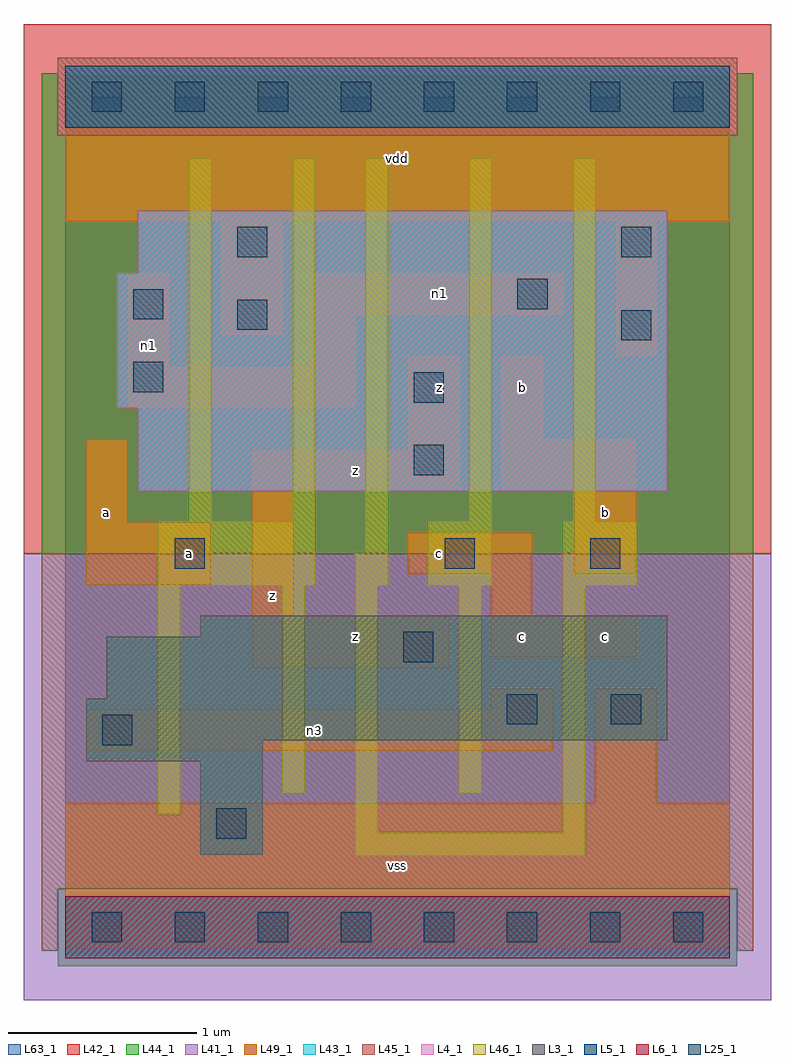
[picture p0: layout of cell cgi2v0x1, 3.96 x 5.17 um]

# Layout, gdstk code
import gdstk
lib = gdstk.Library(unit=1e-6, precision=1e-09)
def R(c, l, rs):  # rectangles x0, y0, x1, y1
    for r in rs: c.add(gdstk.rectangle(r[:2], r[2:], *l))
def A(c, l, x, y, w, h, nx, ny, dx, dy):  # array of equal rectangles
    R(c, l, [(x+i*dx, y+j*dy, x+i*dx+w, y+j*dy+h) for i in range(nx) for j in range(ny)])
L3_1 = (3, 1)
L4_1 = (4, 1)
L5_1 = (5, 1)
L6_1 = (6, 1)
L25_1 = (25, 1)
L41_1 = (41, 1)
L42_1 = (42, 1)
L43_1 = (43, 1)
L44_1 = (44, 1)
L45_1 = (45, 1)
L46_1 = (46, 1)
L49_1 = (49, 1)
L63_1 = (63, 1)

cgi2v0x1 = lib.new_cell('cgi2v0x1')
R(cgi2v0x1, L3_1, [(0.715,0.385,1.045,0.88), (0.11,0.88,1.045,0.99), (0.11,0.99,3.19,1.21), (0.22,1.21,3.19,1.54), (0.715,1.54,3.19,1.65)])
R(cgi2v0x1, L4_1, [(0.385,2.31,3.19,2.75), (0.275,2.75,3.19,3.465), (0.385,3.465,3.19,3.795)])
R(cgi2v0x1, L5_1, [(0,4.235,3.52,4.565)])
R(cgi2v0x1, L6_1, [(0,-0.165,3.52,0.165)])
A(cgi2v0x1, L25_1, 0.14, -0.08, 0.16, 0.16, 8, 2, 0.44, 4.4)
R(cgi2v0x1, L25_1, [(0.8,0.47,0.96,0.63), (0.195,0.965,0.355,1.125), (2.34,1.075,2.5,1.235), (2.89,1.075,3.05,1.235), (1.79,1.405,1.95,1.565), (0.58,1.9,0.74,2.06), (2.01,1.9,2.17,2.06), (2.78,1.9,2.94,2.06), (1.845,2.395,2.005,2.555), (1.845,2.78,2.005,2.94), (0.36,2.835,0.52,2.995), (2.945,3.11,3.105,3.27), (0.91,3.165,1.07,3.325), (0.36,3.22,0.52,3.38), (2.395,3.275,2.555,3.435), (0.91,3.55,1.07,3.71), (2.945,3.55,3.105,3.71)])
R(cgi2v0x1, L41_1, [(-0.22,-0.385,3.74,1.98)])
R(cgi2v0x1, L42_1, [(-0.22,1.98,3.74,4.785)])
R(cgi2v0x1, L43_1, [(0,-0.165,3.52,0.165), (0.715,0.385,1.045,0.88), (0.11,0.88,1.045,0.99), (0.11,0.99,3.19,1.21), (0.22,1.21,3.19,1.54), (0.715,1.54,3.19,1.65), (0.385,2.31,3.19,2.75), (0.275,2.75,3.19,3.465), (0.385,3.465,3.19,3.795), (0,4.235,3.52,4.565)])
R(cgi2v0x1, L44_1, [(-0.04,-0.205,3.56,0.205), (-0.125,1.98,3.645,4.195), (-0.125,4.195,-0.04,4.525), (3.56,4.195,3.645,4.525)])
R(cgi2v0x1, L45_1, [(-0.125,-0.125,-0.04,0.205), (3.56,-0.125,3.645,0.205), (-0.125,0.205,3.645,1.98), (-0.04,4.195,3.56,4.605)])
R(cgi2v0x1, L46_1, [(1.535,0.38,2.755,0.5), (1.535,0.5,1.655,1.81), (2.635,0.5,2.755,1.81), (0.49,0.6,0.61,1.81), (1.15,0.71,1.27,1.81), (2.085,0.71,2.205,1.81), (0.49,1.81,1.325,2.15), (1.535,1.81,1.71,1.985), (1.92,1.81,2.26,2.15), (2.635,1.81,3.03,2.15), (1.59,1.985,1.71,4.075), (0.655,2.15,0.775,4.075), (1.205,2.15,1.325,4.075), (2.14,2.15,2.26,4.075), (2.69,2.15,2.81,4.075)])
R(cgi2v0x1, L49_1, [(0,-0.11,3.52,0.66), (2.805,0.66,3.135,1.265), (0.11,0.935,2.585,1.155), (2.255,1.155,2.585,1.265), (0.99,1.375,2.035,1.65), (2.255,1.43,3.025,1.65), (0.99,1.65,1.21,2.31), (2.255,1.65,2.475,1.87), (0.11,1.815,0.77,2.145), (1.815,1.87,2.475,2.09), (2.695,1.87,3.025,2.31), (0.11,2.145,0.33,2.585), (0.99,2.31,2.09,2.53), (2.31,2.31,3.025,2.585), (1.815,2.53,2.09,3.025), (2.31,2.585,2.53,3.025), (0.33,2.75,1.54,2.97), (0.33,2.97,0.55,3.465), (1.32,2.97,1.54,3.245), (2.915,3.025,3.135,3.74), (0.825,3.135,1.155,3.74), (1.32,3.245,2.64,3.465), (0,3.74,3.52,4.51)])
R(cgi2v0x1, L63_1, [(0,0,3.52,4.4)])
cgi2v0x1.add(gdstk.Label('a', (0.22,2.2), layer=49, texttype=1))
cgi2v0x1.add(gdstk.Label('n1', (0.44,3.08), layer=49, texttype=1))
cgi2v0x1.add(gdstk.Label('z', (1.1,1.76), layer=49, texttype=1))
cgi2v0x1.add(gdstk.Label('a', (0.66,1.98), layer=49, texttype=1))
cgi2v0x1.add(gdstk.Label('vss', (1.76,0.33), layer=49, texttype=1))
cgi2v0x1.add(gdstk.Label('z', (1.54,1.54), layer=49, texttype=1))
cgi2v0x1.add(gdstk.Label('z', (1.54,2.42), layer=49, texttype=1))
cgi2v0x1.add(gdstk.Label('c', (1.98,1.98), layer=49, texttype=1))
cgi2v0x1.add(gdstk.Label('z', (1.98,2.86), layer=49, texttype=1))
cgi2v0x1.add(gdstk.Label('vdd', (1.76,4.07), layer=49, texttype=1))
cgi2v0x1.add(gdstk.Label('n3', (1.32,1.045), layer=49, texttype=1))
cgi2v0x1.add(gdstk.Label('c', (2.42,1.54), layer=49, texttype=1))
cgi2v0x1.add(gdstk.Label('b', (2.42,2.86), layer=49, texttype=1))
cgi2v0x1.add(gdstk.Label('n1', (1.98,3.355), layer=49, texttype=1))
cgi2v0x1.add(gdstk.Label('c', (2.86,1.54), layer=49, texttype=1))
cgi2v0x1.add(gdstk.Label('b', (2.86,2.2), layer=49, texttype=1))

lib.write_gds('cgi2v0x1.gds')
